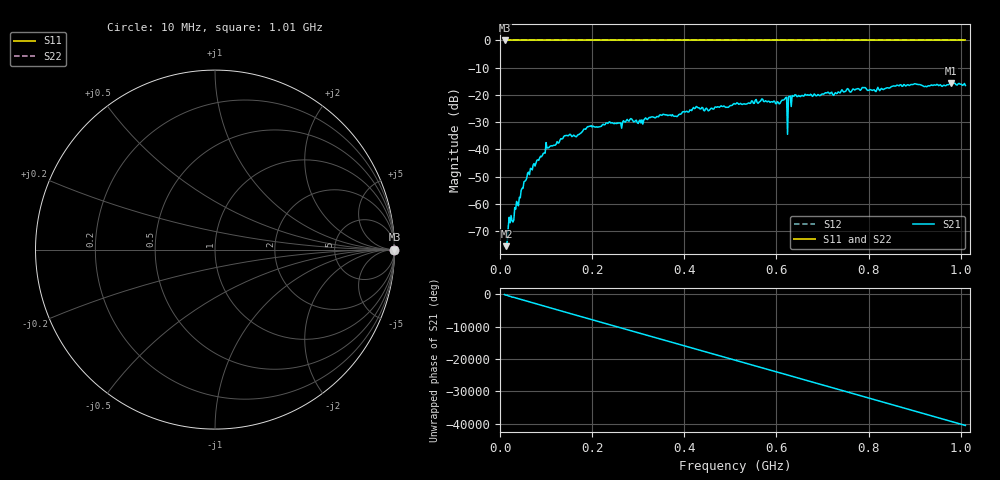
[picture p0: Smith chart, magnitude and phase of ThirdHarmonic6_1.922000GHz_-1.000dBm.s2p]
! 8/16/2025 11:10:37 PM
! C:\ANRITSUVNA\TEMP\TEMP.S2P
! CHANNEL.1
! TR.MEASUREMENT
! RAW.DATA
! RF.CORRECTION.OFF
! AVERAGING.OFF
! IF.BANDWIDTH: 5KHZ
! SWEEPTYPE:  FREQ.SWEEP(Linear)
! Reference Plane Port Info
! PORT:  PORT1  PORT2
! DISTANCE:  0  m  0  m
! TIME:  0  s  0  s
! PHASE.OFFSET:  0  deg.  0  deg.
! LOSS:  0  dB  0  dB
! REF.LOSS:  0  dB  0  dB
! REF.FREQ:  0  Hz  0  Hz
! Power Info
! POWER:  -20  dBm  -20  dBm
! EFF.POWER:  -20  dBm  -20  dBm
! SOURCE.ATTEN:  0  dB  0  dB
! TEST.ATTEN:  0  dB  0  dB
# GHZ S RI R 50.0
! FREQ.GHZ  S11RE  S11IM  S21RE  S21IM  S12RE  S12IM  S22RE  S22IM
!; PortSelection: Port_12
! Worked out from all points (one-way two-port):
!   501 points, 10 MHz to 1.01 GHz, reference 50 ohm
!   highest |S21| = -15.61 dB at 978 MHz (marker M1); lowest = -75.6 dB at 14 MHz (marker M2)
!   lowest |S11| = 0.0 dB at 10 MHz (marker M3)
!   |S11| at or under -10 dB: nowhere
!   |S22| runs from 0.0 to 0.0 dB; largest |S21 - S12| = 1.2
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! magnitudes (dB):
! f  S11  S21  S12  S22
! 10 MHz  0.0  -75.4  0.0  0.0
! 14 MHz  0.0  -75.6  0.0  0.0
! 22 MHz  0.0  -67.0  0.0  0.0
! 30 MHz  0.0  -65.9  0.0  0.0
! 50 MHz  0.0  -54.3  0.0  0.0
! 70 MHz  0.0  -47.5  0.0  0.0
! 104 MHz  0.0  -39.4  0.0  0.0
! 178 MHz  0.0  -33.6  0.0  0.0
! 194 MHz  0.0  -31.5  0.0  0.0
! 302 MHz  0.0  -29.6  0.0  0.0
! 344 MHz  0.0  -28.1  0.0  0.0
! 510 MHz  0.0  -23.4  0.0  0.0
! 604 MHz  0.0  -22.8  0.0  0.0
! 618 MHz  0.0  -21.5  0.0  0.0
! 620 MHz  0.0  -21.0  0.0  0.0
! 628 MHz  0.0  -20.5  0.0  0.0
! 630 MHz  0.0  -20.5  0.0  0.0
! 638 MHz  0.0  -20.5  0.0  0.0
! 678 MHz  0.0  -20.5  0.0  0.0
! 844 MHz  0.0  -17.5  0.0  0.0
! 978 MHz  0.0  -15.6  0.0  0.0
! 1.01 GHz  0.0  -16.5  0.0  0.0
